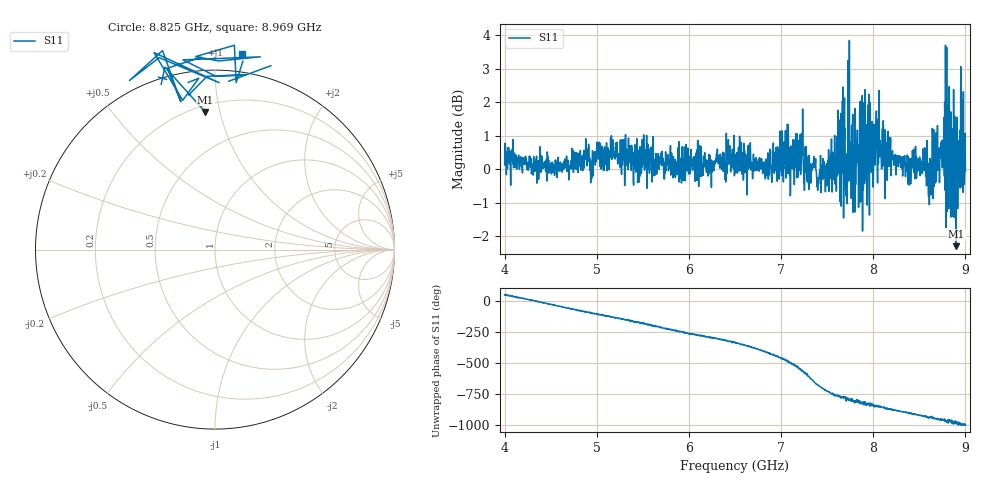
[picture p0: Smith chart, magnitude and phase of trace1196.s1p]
! Created with skrf 1.8.0 (http://scikit-rf.org).
# Hz S RI R 50.0
!freq ReS11 ImS11
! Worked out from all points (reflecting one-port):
!   1601 points, 4 GHz to 9 GHz, reference 50 ohm
!   lowest |S11| = -2.3 dB at 8.9 GHz (marker M1), VSWR 7.63, Z = 12.1 + j45.2 ohm
!   phase of S11 starts at 50 deg and turns -1053 deg over the sweep
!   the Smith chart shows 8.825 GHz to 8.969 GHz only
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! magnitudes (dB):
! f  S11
! 4 GHz  0.1
! 4.625 GHz  -0.1
! 5.25 GHz  0.1
! 5.875 GHz  0.2
! 6.5 GHz  0.4
! 7.125 GHz  0.1
! 7.209 GHz  1.0
! 7.262 GHz  0.0
! 7.356 GHz  0.4
! 7.409 GHz  -0.4
! 7.575 GHz  0.2
! 7.65 GHz  1.7
! 7.669 GHz  0.8
! 7.703 GHz  -0.8
! 7.75 GHz  0.3
! 7.775 GHz  1.2
! 7.894 GHz  -0.5
! 7.909 GHz  0.7
! 7.922 GHz  -0.3
! 7.981 GHz  -0.1
! 8.038 GHz  0.8
! 8.375 GHz  0.1
! 8.562 GHz  0.1
! 8.612 GHz  -0.1
! 8.759 GHz  0.3
! 8.9 GHz  -2.3
! 8.956 GHz  0.6
! 9 GHz  -0.1
